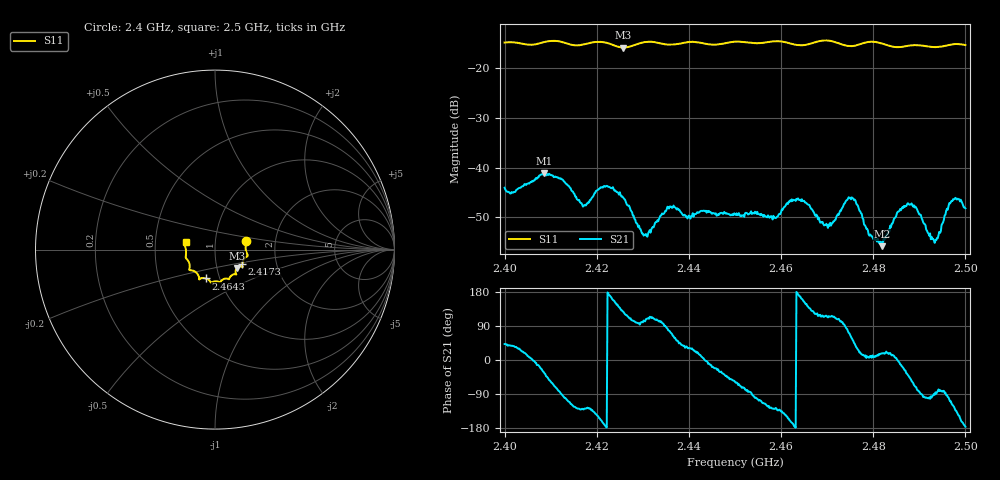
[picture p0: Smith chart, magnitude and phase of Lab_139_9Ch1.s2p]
# Hz S RI R 50
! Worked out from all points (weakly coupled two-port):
!   601 points, 2.4 GHz to 2.5 GHz, reference 50 ohm
!   highest |S21| = -41.07 dB at 2.4085 GHz (marker M1); lowest = -55.8 dB at 2.482 GHz (marker M2)
!   lowest |S11| = -15.9 dB at 2.4257 GHz (marker M3), VSWR 1.38, Z = 62.5 - j13.1 ohm
!   |S11| at or under -10 dB: start of sweep to end of sweep
!   S12 and S22 are empty: the file has one direction only
!   S11 on the Smith chart (normalised r, x): 2.4 GHz: 1.41, +0.14; 2.4173 GHz: 1.34, -0.22; 2.4643 GHz: 0.86, -0.29; 2.5 GHz: 0.72, +0.06
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2.4e9  0.1728 0.0489  0.00466 0.00421  0 0  0 0
2.4085e9  0.1793 -0.0252  0.00749 -0.00469  0 0  0 0
2.416667e9  0.1527 -0.0741  -0.00282 -0.00338  0 0  0 0
2.417333e9  0.152 -0.0815  -0.00261 -0.00331  0 0  0 0
2.421667e9  0.1527 -0.0957  -0.00645 -0.00105  0 0  0 0
2.425667e9  0.1229 -0.1021  -0.00309 0.00398  0 0  0 0
2.430333e9  0.118 -0.1372  -0.000453 0.00207  0 0  0 0
2.433333e9  0.1131 -0.1372  -0.00068 0.00282  0 0  0 0
2.436333e9  0.0921 -0.1443  0.00144 0.00367  0 0  0 0
2.45e9  0.0289 -0.1809  0.00183 -0.00287  0 0  0 0
2.458667e9  -0.0213 -0.1834  -0.00196 -0.00246  0 0  0 0
2.464333e9  -0.0498 -0.1609  -0.00442 0.00134  0 0  0 0
2.466667e9  -0.0759 -0.1593  -0.00243 0.00295  0 0  0 0
2.4705e9  -0.0881 -0.165  -0.00108 0.00237  0 0  0 0
2.4755e9  -0.111 -0.1226  0.00293 0.004  0 0  0 0
2.4795e9  -0.1428 -0.114  0.00206 0.000377  0 0  0 0
2.482e9  -0.1417 -0.1025  0.00155 0.000491  0 0  0 0
2.483333e9  -0.1409 -0.0901  0.0023 0.000656  0 0  0 0
2.487833e9  -0.1594 -0.051  0.00299 -0.00301  0 0  0 0
2.4935e9  -0.1611 -0.00814  0.000152 -0.00187  0 0  0 0
2.497e9  -0.1693 0.0269  -0.00195 -0.00421  0 0  0 0
2.5e9  -0.1639 0.0431  -0.0039 -0.000269  0 0  0 0
